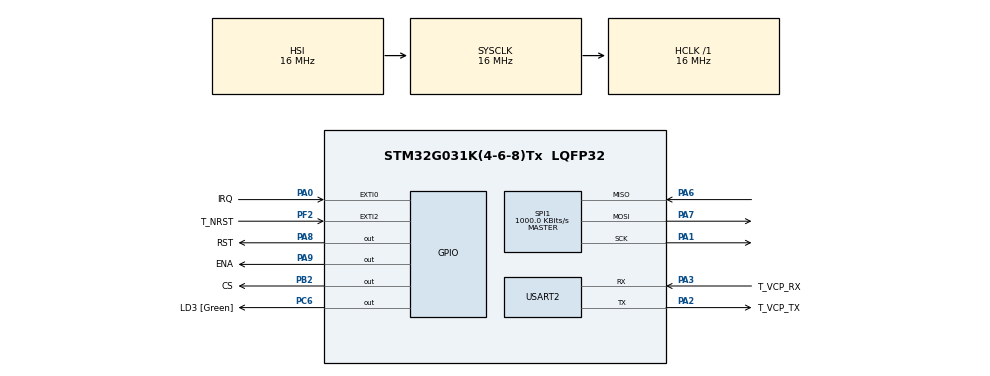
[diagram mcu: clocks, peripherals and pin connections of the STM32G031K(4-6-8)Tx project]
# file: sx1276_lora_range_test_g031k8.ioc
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Mcu.Family=STM32G0
Mcu.Name=STM32G031K(4-6-8)Tx
Mcu.Package=LQFP32
NVIC.EXTI0_1_IRQn=true\:0\:0\:false\:false\:true\:true\:true\:true
NVIC.SPI1_IRQn=true\:0\:0\:false\:false\:true\:true\:true\:true
PA0.GPIO_Label=IRQ
PA0.Signal=GPXTI0
PA1.GPIO_Speed=GPIO_SPEED_FREQ_VERY_HIGH
PA1.Mode=Full_Duplex_Master
PA1.Signal=SPI1_SCK
PA13.GPIO_Label=T_JTMS
PA13.Mode=Serial_Wire
PA13.Signal=SYS_SWDIO
PA14-BOOT0.GPIO_Label=T_JTCK
PA14-BOOT0.Mode=Serial_Wire
PA14-BOOT0.Signal=SYS_SWCLK
PA2.GPIO_Label=T_VCP_TX
PA2.Mode=Asynchronous
PA2.Signal=USART2_TX
PA3.GPIO_Label=T_VCP_RX
PA3.Mode=Asynchronous
PA3.Signal=USART2_RX
PA6.GPIO_Speed=GPIO_SPEED_FREQ_VERY_HIGH
PA6.Mode=Full_Duplex_Master
PA6.Signal=SPI1_MISO
PA7.GPIO_Speed=GPIO_SPEED_FREQ_VERY_HIGH
PA7.Mode=Full_Duplex_Master
PA7.Signal=SPI1_MOSI
PA8.GPIO_Label=RST
PA8.Signal=GPIO_Output
PA9.GPIO_Label=ENA
PA9.Signal=GPIO_Output
PB2.GPIO_Label=CS
PB2.Signal=GPIO_Output
PC14-OSC32_IN\ (PC14).Signal=RCC_OSC32_IN
PC15-OSC32_OUT\ (PC15).Signal=RCC_OSC32_OUT
PC6.GPIO_Label=LD3 [Green]
PC6.Signal=GPIO_Output
PF2\ -\ NRST.GPIO_Label=T_NRST
PF2\ -\ NRST.Signal=GPXTI2
ProjectManager.HeapSize=0x200
ProjectManager.StackSize=0x400
ProjectManager.TargetToolchain=STM32CubeIDE
RCC.AHBFreq_Value=16000000
RCC.CortexFreq_Value=16000000
RCC.EXTERNAL_CLOCK_VALUE=12288000
RCC.HCLKFreq_Value=16000000
RCC.HSE_VALUE=8000000
RCC.HSI_VALUE=16000000
RCC.LSE_VALUE=32768
RCC.SYSCLKFreq_VALUE=16000000
RCC.VCOOutputFreq_Value=128000000
SPI1.BaudRatePrescaler=SPI_BAUDRATEPRESCALER_16
SPI1.CalculateBaudRate=1000.0 KBits/s
SPI1.Direction=SPI_DIRECTION_2LINES
SPI1.Mode=SPI_MODE_MASTER
SPI1.NSSPMode=SPI_NSS_PULSE_DISABLE
SPI1.VirtualType=VM_MASTER
USART2.VirtualMode-Asynchronous=VM_ASYNC
board=NUCLEO-G031K8

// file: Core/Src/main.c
/* USER CODE BEGIN Header */
/**
  ******************************************************************************
  * @file           : main.c
  * @brief          : Main program body
  ******************************************************************************
  * @attention
  *
  * Copyright (c) 2025 STMicroelectronics.
  * All rights reserved.
  *
  * This software is licensed under terms that can be found in the LICENSE file
  * in the root directory of this software component.
  * If no LICENSE file comes with this software, it is provided AS-IS.
  *
  ******************************************************************************
  */
/* USER CODE END Header */
#include "main.h"
#include "spi.h"
#include "usart.h"
#include "gpio.h"

/* USER CODE BEGIN Includes */
#include "LoRa.h"
#include "memory.h"
#include "stdio.h"
#include "string.h"
#include "uart_print.h"
/* USER CODE END Includes */

/* USER CODE BEGIN PD */
//#define TRANSMITTER
#define RECEIVER
/* USER CODE END PD */

/* USER CODE BEGIN PV */
LoRa myLoRa;
/* USER CODE END PV */

void SystemClock_Config(void);
/* USER CODE BEGIN PFP */
void HAL_GPIO_EXTI_Rising_Callback(uint16_t GPIO_Pin)
{
    if (GPIO_Pin == IRQ_Pin)
    {
        uint8_t received_data[200];
        uint8_t packet_size = 0;

        packet_size = LoRa_receive(&myLoRa, received_data, sizeof(received_data));

        if (packet_size > 0 && strstr((char*)received_data, "transmitter") != NULL)
        {
        	HAL_GPIO_TogglePin(LD3_GPIO_Port, LD3_Pin);

            int packet_strength = LoRa_getRSSI(&myLoRa);

            char message[350];
            snprintf(message, sizeof(message), "Message Received. RSSI: %d :\t%s", packet_strength, received_data);
            uart_print(message);
        }
    }

}

void lora_setup()
{
	//myLoRa = newLoRa();
	myLoRa = newLoRaLongRange();

	myLoRa.CS_port         = CS_GPIO_Port;
	myLoRa.CS_pin          = CS_Pin;
	myLoRa.reset_port      = RST_GPIO_Port;
	myLoRa.reset_pin       = RST_Pin;
	myLoRa.DIO0_port       = IRQ_GPIO_Port;
	myLoRa.DIO0_pin        = IRQ_Pin;
	myLoRa.enable_port	   = ENA_GPIO_Port;
	myLoRa.enable_pin	   = ENA_Pin;
	myLoRa.hSPIx           = &hspi1;

	uint8_t init_status = LoRa_init(&myLoRa);
	if(init_status != LORA_OK)
	{
		while(1);
	}
	else
	{
		HAL_GPIO_WritePin(LD3_GPIO_Port, LD3_Pin, GPIO_PIN_SET);
	}
}

void transmitter_loop()
{
	HAL_Delay(500);
	uint8_t default_power = LoRa_read(&myLoRa, RegPaDac);

	char   send_data[255];
	uint8_t counter = 0;

	while(1)
	{
		HAL_GPIO_TogglePin(LD3_GPIO_Port, LD3_Pin);
		++counter;

		memset(send_data, 0, sizeof(send_data));
		snprintf(send_data,sizeof(send_data),"Message %d Hello from transmitter!", counter);
		uint8_t result = 0;
		uint8_t len = strlen(send_data);

		LoRa_transmit(&myLoRa, (uint8_t*)send_data, len, 1000);

		HAL_Delay(2000);

	}
}

void receiver_loop()
{
	HAL_Delay(500);
	LoRa_startReceiving(&myLoRa);

	uart_print("Starting LoRa Receiver on G031K8 Nucleo with settings newLoRaLongRange()...");

	uint8_t default_power = LoRa_read(&myLoRa, RegPaDac);

	while(1)
	{
		__WFI();
	}
}
/* USER CODE END PFP */

int main(void)
{

  /* MCU Configuration--------------------------------------------------------*/

  /* Reset of all peripherals, Initializes the Flash interface and the Systick. */
  HAL_Init();

  /* Configure the system clock */
  SystemClock_Config();

  /* Initialize all configured peripherals */
  MX_GPIO_Init();
  MX_SPI1_Init();
  MX_USART2_UART_Init();

  /* Infinite loop */
  /* USER CODE BEGIN WHILE */
  lora_setup();

  #ifdef TRANSMITTER
    transmitter_loop();
  #endif

  #ifdef RECEIVER
    receiver_loop();
  #endif

  while (1)
  {
    /* USER CODE END WHILE */

  }
}

void SystemClock_Config(void)
{
  RCC_OscInitTypeDef RCC_OscInitStruct = {0};
  RCC_ClkInitTypeDef RCC_ClkInitStruct = {0};

  /** Configure the main internal regulator output voltage
  */
  HAL_PWREx_ControlVoltageScaling(PWR_REGULATOR_VOLTAGE_SCALE1);

  /** Initializes the RCC Oscillators according to the specified parameters
  * in the RCC_OscInitTypeDef structure.
  */
  RCC_OscInitStruct.OscillatorType = RCC_OSCILLATORTYPE_HSI;
  RCC_OscInitStruct.HSIState = RCC_HSI_ON;
  RCC_OscInitStruct.HSIDiv = RCC_HSI_DIV1;
  RCC_OscInitStruct.HSICalibrationValue = RCC_HSICALIBRATION_DEFAULT;
  RCC_OscInitStruct.PLL.PLLState = RCC_PLL_NONE;
  if (HAL_RCC_OscConfig(&RCC_OscInitStruct) != HAL_OK)
  {
    Error_Handler();
  }

  /** Initializes the CPU, AHB and APB buses clocks
  */
  RCC_ClkInitStruct.ClockType = RCC_CLOCKTYPE_HCLK|RCC_CLOCKTYPE_SYSCLK
                              |RCC_CLOCKTYPE_PCLK1;
  RCC_ClkInitStruct.SYSCLKSource = RCC_SYSCLKSOURCE_HSI;
  RCC_ClkInitStruct.AHBCLKDivider = RCC_SYSCLK_DIV1;
  RCC_ClkInitStruct.APB1CLKDivider = RCC_HCLK_DIV1;

  if (HAL_RCC_ClockConfig(&RCC_ClkInitStruct, FLASH_LATENCY_0) != HAL_OK)
  {
    Error_Handler();
  }
}

void Error_Handler(void)
{
  __disable_irq();
  while (1)
  {
  }
}
